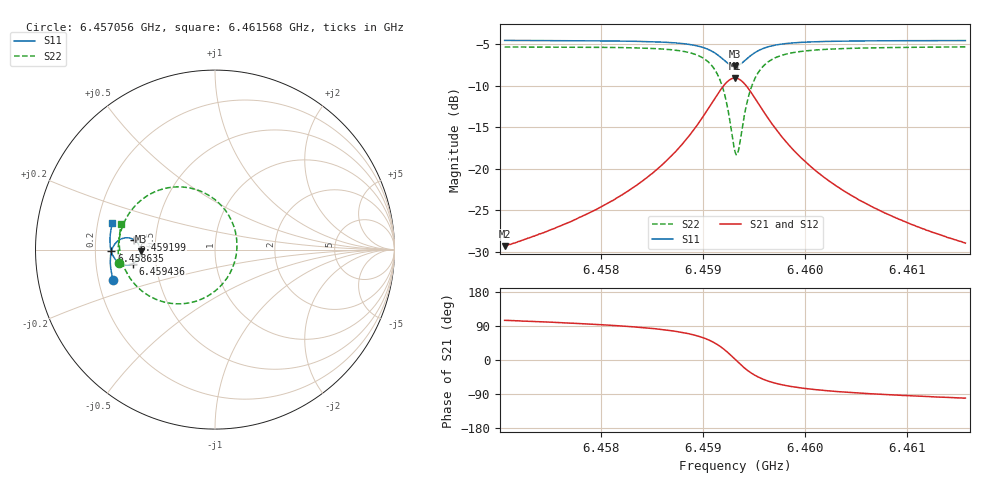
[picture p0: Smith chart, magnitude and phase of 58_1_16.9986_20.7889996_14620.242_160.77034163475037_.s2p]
#  HZ  S  RI  R  50.00
! Rohde & Schwarz Vector Network Analyzer
! Rohde-Schwarz,ZNB20-2Port,1311601062101988,3.16
! Created: UTC 3/20/2024, 10:54:41 PM
! freq[Hz]  re:S11  im:S11  re:S21  im:S21  re:S12  im:S12  re:S22  im:S22
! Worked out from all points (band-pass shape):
!   401 points, 6.457056 GHz to 6.461568 GHz, reference 50 ohm
!   highest |S21| = -9.07 dB at 6.459312 GHz (marker M1); lowest = -29.3 dB at 6.457056 GHz (marker M2)
!   |S21| within 3 dB of the highest: 6.459086 GHz to 6.459537 GHz (451.5 kHz wide, 0.00699 % of centre)
!   lowest |S11| = -7.7 dB at 6.459312 GHz (marker M3), VSWR 2.42, Z = 20.7 - j0.508 ohm
!   |S11| at or under -10 dB: nowhere
!   |S22| runs from -18.3 to -5.3 dB; largest |S21 - S12| = 0.014
!   S11 on the Smith chart (normalised r, x): 6.457056 GHz: 0.26, -0.13; 6.458635 GHz: 0.27, -0.01; 6.459199 GHz: 0.38, +0.05; 6.459436 GHz: 0.37, -0.07; 6.461568 GHz: 0.26, +0.12
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6.4570557e9  -0.5677 -0.1676  -0.00864 0.0331  -0.00695 0.0332  -0.5348 -0.077
6.4578116e9  -0.5811 -0.1011  -0.0053 0.0514  -0.00269 0.0508  -0.5389 0.0129
6.458229e9  -0.5836 -0.0588  0.000996 0.0713  0.00421 0.0698  -0.5299 0.0801
6.4585675e9  -0.5793 -0.0178  0.0153 0.1006  0.0192 0.0977  -0.5032 0.158
6.4586352e9  -0.577 -0.00834  0.0208 0.109  0.0248 0.1057  -0.4928 0.1782
6.458827e9  -0.5641 0.0222  0.0479 0.1403  0.052 0.1353  -0.4416 0.2476
6.4589736e9  -0.5408 0.0486  0.0944 0.1713  0.0974 0.1644  -0.3559 0.312
6.459109e9  -0.496 0.0659  0.1835 0.1873  0.1841 0.18  -0.1934 0.3493
6.4591993e9  -0.4505 0.0549  0.2747 0.1547  0.2751 0.149  -0.0243 0.2958
6.459267e9  -0.421 0.0217  0.3357 0.0809  0.3381 0.0755  0.0915 0.1622
6.4593121e9  -0.4142 -0.0102  0.3516 0.0116  0.3555 0.00451  0.1225 0.0325
6.4593459e9  -0.4185 -0.0343  0.3453 -0.0417  0.3493 -0.0511  0.1093 -0.0685
6.4593911e9  -0.4344 -0.0608  0.3155 -0.1023  0.3179 -0.1146  0.0489 -0.1827
6.4594362e9  -0.457 -0.0775  0.2725 -0.1436  0.2716 -0.1573  -0.0383 -0.2575
6.4595264e9  -0.5011 -0.0844  0.1862 -0.1744  0.1799 -0.1861  -0.2102 -0.3021
6.4595941e9  -0.5258 -0.0771  0.137 -0.1721  0.1289 -0.1811  -0.3046 -0.2859
6.4596731e9  -0.5457 -0.0639  0.097 -0.1596  0.0883 -0.1659  -0.3794 -0.2504
6.4598311e9  -0.5676 -0.0361  0.0516 -0.1311  0.0439 -0.1339  -0.4603 -0.1769
6.460068e9  -0.5806 -0.000633  0.0223 -0.0989  0.0165 -0.0994  -0.5083 -0.0935
6.4604177e9  -0.5854 0.0413  0.00573 -0.0709  0.00177 -0.0704  -0.5298 -0.0118
6.4608239e9  -0.5835 0.0825  -0.00147 -0.0527  -0.00448 -0.0518  -0.5336 0.0542
6.4615685e9  -0.5719 0.1487  -0.00653 -0.0351  -0.00831 -0.0342  -0.5222 0.1432
